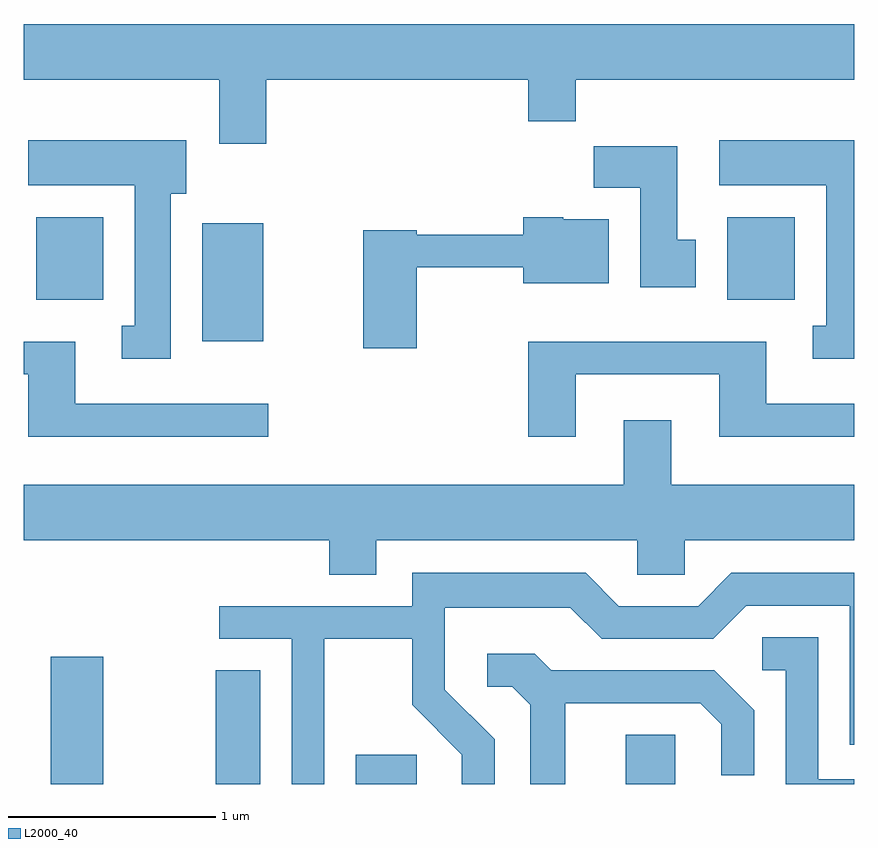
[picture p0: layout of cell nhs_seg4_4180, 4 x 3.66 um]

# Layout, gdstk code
import gdstk
lib = gdstk.Library(unit=1e-6, precision=1e-09)
def R(c, l, rs):  # rectangles x0, y0, x1, y1
    for r in rs: c.add(gdstk.rectangle(r[:2], r[2:], *l))
def P(c, l, *ps):  # polygons
    for p in ps: c.add(gdstk.Polygon(p, *l))
L2000_40 = (2000, 40)

nhs_seg4_4180 = lib.new_cell('nhs_seg4_4180')
R(nhs_seg4_4180, L2000_40, [(307.741,1317.982,307.994,1318.594), (308.536,1317.982,308.749,1318.529), (309.211,1317.982,309.504,1318.124), (310.511,1317.982,310.749,1318.219), (308.471,1320.116,308.764,1320.684), (307.671,1320.316,307.994,1320.714), (311.001,1320.316,311.324,1320.714)])
P(nhs_seg4_4180, L2000_40, [(308.779,1321.376),(310.041,1321.376),(310.041,1321.176),(310.269,1321.176),(310.269,1321.376),(311.611,1321.376),(311.611,1321.644),(307.611,1321.644),(307.611,1321.376),(308.551,1321.376),(308.551,1321.066),(308.779,1321.066)],
  [(311.611,1321.084),(310.961,1321.084),(310.961,1320.866),(311.476,1320.866),(311.476,1320.189),(311.413,1320.189),(311.413,1320.031),(311.611,1320.031)],
  [(308.319,1320.826),(308.394,1320.826),(308.394,1321.084),(307.631,1321.084),(307.631,1320.866),(308.146,1320.866),(308.146,1320.189),(308.083,1320.189),(308.083,1320.031),(308.319,1320.031)],
  [(310.849,1320.604),(310.759,1320.604),(310.759,1321.054),(310.356,1321.054),(310.356,1320.856),(310.581,1320.856),(310.581,1320.376),(310.849,1320.376)],
  [(309.504,1320.471),(310.016,1320.471),(310.016,1320.396),(310.429,1320.396),(310.429,1320.704),(310.21,1320.704),(310.21,1320.714),(310.016,1320.714),(310.016,1320.629),(309.504,1320.629),(309.504,1320.649),(309.246,1320.649),(309.246,1320.081),(309.504,1320.081)],
  [(308.788,1319.814),(307.859,1319.814),(307.859,1320.114),(307.611,1320.114),(307.611,1319.956),(307.631,1319.956),(307.631,1319.656),(308.788,1319.656)],
  [(310.269,1319.956),(310.961,1319.956),(310.961,1319.656),(311.611,1319.656),(311.611,1319.814),(311.189,1319.814),(311.189,1320.114),(310.041,1320.114),(310.041,1319.656),(310.269,1319.656)],
  [(309.309,1319.156),(310.566,1319.156),(310.566,1318.991),(310.794,1318.991),(310.794,1319.156),(311.611,1319.156),(311.611,1319.424),(310.729,1319.424),(310.729,1319.734),(310.501,1319.734),(310.501,1319.424),(307.611,1319.424),(307.611,1319.156),(309.081,1319.156),(309.081,1318.991),(309.309,1318.991)],
  [(309.059,1318.681),(309.481,1318.681),(309.481,1318.364),(309.721,1318.124),(309.721,1317.982),(309.879,1317.982),(309.879,1318.197),(309.639,1318.437),(309.639,1318.831),(310.244,1318.831),(310.394,1318.681),(310.932,1318.681),(311.092,1318.841),(311.591,1318.841),(311.591,1318.171),(311.611,1318.171),(311.611,1318.999),(311.019,1318.999),(310.859,1318.839),(310.477,1318.839),(310.317,1318.999),(309.481,1318.999),(309.481,1318.839),(308.553,1318.839),(308.553,1318.681),(308.901,1318.681),(308.901,1317.982),(309.059,1317.982)],
  [(311.611,1318.004),(311.439,1318.004),(311.439,1318.689),(311.168,1318.689),(311.168,1318.531),(311.281,1318.531),(311.281,1317.982),(311.611,1317.982)],
  [(310.219,1318.371),(310.869,1318.371),(310.971,1318.269),(310.971,1318.023),(311.129,1318.023),(311.129,1318.337),(310.937,1318.529),(310.152,1318.529),(310.072,1318.609),(309.843,1318.609),(309.843,1318.451),(309.964,1318.451),(310.051,1318.364),(310.051,1317.982),(310.219,1317.982)])

lib.write_gds('nhs_seg4_4180.gds')
